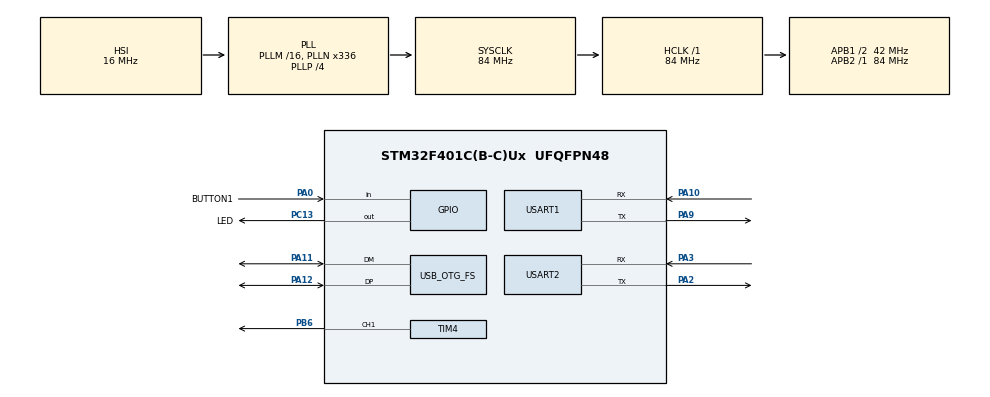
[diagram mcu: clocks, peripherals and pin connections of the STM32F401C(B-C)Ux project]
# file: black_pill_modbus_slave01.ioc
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FREERTOS.Tasks01=defaultTask,24,128,StartDefaultTask,Default,NULL,Dynamic,NULL,NULL;myTaskSlave,8,128,StartTaskSlave,Default,NULL,Dynamic,NULL,NULL
FREERTOS.configUSE_STATS_FORMATTING_FUNCTIONS=1
Mcu.Family=STM32F4
Mcu.Name=STM32F401C(B-C)Ux
Mcu.Package=UFQFPN48
NVIC.OTG_FS_IRQn=true\:5\:0\:false\:false\:true\:true\:true\:true\:true
NVIC.PriorityGroup=NVIC_PRIORITYGROUP_4
NVIC.TIM2_IRQn=true\:5\:0\:false\:false\:true\:true\:true\:true\:true
NVIC.USART1_IRQn=true\:5\:0\:false\:false\:true\:true\:true\:true\:true
NVIC.USART2_IRQn=true\:5\:0\:false\:false\:true\:true\:true\:true\:true
PA0-WKUP.GPIO_Label=BUTTON1
PA0-WKUP.Signal=GPIO_Input
PA10.Mode=Asynchronous
PA10.Signal=USART1_RX
PA11.Mode=Device_Only
PA11.Signal=USB_OTG_FS_DM
PA12.Mode=Device_Only
PA12.Signal=USB_OTG_FS_DP
PA13.Mode=Trace_Asynchronous_SW
PA13.Signal=SYS_JTMS-SWDIO
PA14.Mode=Trace_Asynchronous_SW
PA14.Signal=SYS_JTCK-SWCLK
PA2.Mode=Asynchronous
PA2.Signal=USART2_TX
PA3.Mode=Asynchronous
PA3.Signal=USART2_RX
PA9.Mode=Asynchronous
PA9.Signal=USART1_TX
PB3.Mode=Trace_Asynchronous_SW
PB3.Signal=SYS_JTDO-SWO
PB6.Signal=S_TIM4_CH1
PC13-ANTI_TAMP.GPIO_Label=LED
PC13-ANTI_TAMP.Signal=GPIO_Output
PC14-OSC32_IN.Mode=LSE-External-Oscillator
PC14-OSC32_IN.Signal=RCC_OSC32_IN
PC15-OSC32_OUT.Mode=LSE-External-Oscillator
PC15-OSC32_OUT.Signal=RCC_OSC32_OUT
PH0\ -\ OSC_IN.Mode=HSE-External-Oscillator
PH0\ -\ OSC_IN.Signal=RCC_OSC_IN
PH1\ -\ OSC_OUT.Mode=HSE-External-Oscillator
PH1\ -\ OSC_OUT.Signal=RCC_OSC_OUT
ProjectManager.HeapSize=0x200
ProjectManager.StackSize=0x400
ProjectManager.TargetToolchain=STM32CubeIDE
RCC.48MHZClocksFreq_Value=48000000
RCC.AHBFreq_Value=84000000
RCC.APB1CLKDivider=RCC_HCLK_DIV2
RCC.APB1Freq_Value=42000000
RCC.APB1TimFreq_Value=84000000
RCC.APB2Freq_Value=84000000
RCC.APB2TimFreq_Value=84000000
RCC.CortexFreq_Value=84000000
RCC.HCLKFreq_Value=84000000
RCC.HSE_VALUE=25000000
RCC.HSI_VALUE=16000000
RCC.PLLN=336
RCC.PLLP=RCC_PLLP_DIV4
RCC.PLLQ=7
RCC.PLLSource=RCC_PLLSOURCE_HSI
RCC.PLLSourceVirtualString=RCC_PLLSOURCE_HSI
RCC.SYSCLKFreq_VALUE=84000000
RCC.SYSCLKSource=RCC_SYSCLKSOURCE_PLLCLK
RCC.VCOOutputFreq_Value=336000000
SH.S_TIM4_CH1.0=TIM4_CH1,PWM Generation1 CH1
TIM2.AutoReloadPreload=TIM_AUTORELOAD_PRELOAD_ENABLE
TIM2.Prescaler=83
TIM4.Channel-PWM\ Generation1\ CH1=TIM_CHANNEL_1
TIM4.CounterMode=TIM_COUNTERMODE_DOWN
TIM4.Period=8192-1
TIM4.Prescaler=0
USART1.VirtualMode=VM_ASYNC
USART2.VirtualMode=VM_ASYNC
USB_DEVICE.CLASS_NAME_FS=CDC
USB_DEVICE.VirtualMode=Cdc
USB_DEVICE.VirtualModeFS=Cdc_FS
USB_OTG_FS.VirtualMode=Device_Only
VP_FREERTOS_VS_CMSIS_V2.Mode=CMSIS_V2
VP_TIM2_VS_ClockSourceINT.Mode=Internal
VP_TIM4_VS_ClockSourceINT.Mode=Internal
VP_USB_DEVICE_VS_USB_DEVICE_CDC_FS.Mode=CDC_FS
board=custom

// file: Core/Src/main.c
/* USER CODE BEGIN Header */
/**
  ******************************************************************************
  * @file           : main.c
  * @brief          : Main program body
  ******************************************************************************
  * @attention
  *
  * Copyright (c) 2023 STMicroelectronics.
  * All rights reserved.
  *
  * This software is licensed under terms that can be found in the LICENSE file
  * in the root directory of this software component.
  * If no LICENSE file comes with this software, it is provided AS-IS.
  *
  ******************************************************************************
  */
/* USER CODE END Header */
#include "main.h"
#include "cmsis_os.h"
#include "tim.h"
#include "usart.h"
#include "usb_device.h"
#include "gpio.h"

/* USER CODE BEGIN Includes */
#include "analogclock.h"
#include "typedef.h"
#include "eeprom.h"
#include "save_variable.h"
/* USER CODE END Includes */

/* USER CODE BEGIN PV */

uint16_t VirtAddVarTab[NB_OF_VAR] = {0x5555, 0x6666, 0x7777};
uint16_t VarDataTab[NB_OF_VAR] = {0, 0, 0};
uint16_t VarValue = 0;
modbusHandler_t ModbusH;
uint16_t ModbusDATA[32];
ee_t ee;
flash_state_t flash_ready = FLASH_NOT_READY;

/* USER CODE END PV */

void SystemClock_Config(void);
void MX_FREERTOS_Init(void);
/* USER CODE BEGIN PFP */
#define PUTCHAR_PROTOTYPE int __io_putchar(int ch)

/* USER CODE END PFP */

int main(void)
{

  /* MCU Configuration--------------------------------------------------------*/

  /* Reset of all peripherals, Initializes the Flash interface and the Systick. */
  HAL_Init();

  /* Configure the system clock */
  SystemClock_Config();

  /* Initialize all configured peripherals */
  MX_GPIO_Init();
  MX_USART1_UART_Init();
  MX_USART2_UART_Init();
  MX_TIM2_Init();
  MX_TIM4_Init();
  /* USER CODE BEGIN 2 */
  init_save();
  load_eeprom();
  init_modbus(&huart2, ee.address);

  /* USER CODE END 2 */

  /* Init scheduler */
  osKernelInitialize();  /* Call init function for freertos objects (in freertos.c) */
  MX_FREERTOS_Init();

  /* Start scheduler */
  osKernelStart();
  /* We should never get here as control is now taken by the scheduler */
  /* Infinite loop */
  while (1)
  {

  }
}

void SystemClock_Config(void)
{
  RCC_OscInitTypeDef RCC_OscInitStruct = {0};
  RCC_ClkInitTypeDef RCC_ClkInitStruct = {0};

  /** Configure the main internal regulator output voltage
  */
  __HAL_RCC_PWR_CLK_ENABLE();
  __HAL_PWR_VOLTAGESCALING_CONFIG(PWR_REGULATOR_VOLTAGE_SCALE2);

  /** Initializes the RCC Oscillators according to the specified parameters
  * in the RCC_OscInitTypeDef structure.
  */
  RCC_OscInitStruct.OscillatorType = RCC_OSCILLATORTYPE_HSI;
  RCC_OscInitStruct.HSIState = RCC_HSI_ON;
  RCC_OscInitStruct.HSICalibrationValue = RCC_HSICALIBRATION_DEFAULT;
  RCC_OscInitStruct.PLL.PLLState = RCC_PLL_ON;
  RCC_OscInitStruct.PLL.PLLSource = RCC_PLLSOURCE_HSI;
  RCC_OscInitStruct.PLL.PLLM = 16;
  RCC_OscInitStruct.PLL.PLLN = 336;
  RCC_OscInitStruct.PLL.PLLP = RCC_PLLP_DIV4;
  RCC_OscInitStruct.PLL.PLLQ = 7;
  if (HAL_RCC_OscConfig(&RCC_OscInitStruct) != HAL_OK)
  {
    Error_Handler();
  }

  /** Initializes the CPU, AHB and APB buses clocks
  */
  RCC_ClkInitStruct.ClockType = RCC_CLOCKTYPE_HCLK|RCC_CLOCKTYPE_SYSCLK
                              |RCC_CLOCKTYPE_PCLK1|RCC_CLOCKTYPE_PCLK2;
  RCC_ClkInitStruct.SYSCLKSource = RCC_SYSCLKSOURCE_PLLCLK;
  RCC_ClkInitStruct.AHBCLKDivider = RCC_SYSCLK_DIV1;
  RCC_ClkInitStruct.APB1CLKDivider = RCC_HCLK_DIV2;
  RCC_ClkInitStruct.APB2CLKDivider = RCC_HCLK_DIV1;

  if (HAL_RCC_ClockConfig(&RCC_ClkInitStruct, FLASH_LATENCY_2) != HAL_OK)
  {
    Error_Handler();
  }
}

/* USER CODE BEGIN 4 */
//PUTCHAR_PROTOTYPE
//{
  /* Place your implementation of fputc here */
  /* e.g. write a character to the USART1 and Loop until the end of transmission */
  //HAL_UART_Transmit (&huart2, (uint8_t*) &ch, 1, 0xFFFF);

  //while(!(CDC_Transmit_FS((uint8_t*)&ch, 1) == USBD_BUSY));

  //return ch;
//}

//int fputc(int ch, FILE *f)
//{
//    return(ITM_SendChar(ch));
//}

int _write(int file, char *ptr, int len)
{
  /* Implement your write code here, this is used by puts and printf for example */
  int i=0;
  for(i=0 ; i<len ; i++)
    ITM_SendChar((*ptr++));
  return len;
}

/* USER CODE END 4 */

void Error_Handler(void)
{
  __disable_irq();
  while (1)
  {
  }
}

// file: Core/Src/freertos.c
/* USER CODE BEGIN Header */
/**
 ******************************************************************************
 * File Name          : freertos.c
 * Description        : Code for freertos applications
 ******************************************************************************
 * @attention
 *
 * <h2><center>&copy; Copyright (c) 2021 STMicroelectronics.
 * All rights reserved.</center></h2>
 *
 * This software component is licensed by ST under Ultimate Liberty license
 * SLA0044, the "License"; You may not use this file except in compliance with
 * the License. You may obtain a copy of the License at:
 *                             www.st.com/SLA0044
 *
 ******************************************************************************
 */
/* USER CODE END Header */

#include "FreeRTOS.h"
#include "task.h"
#include "main.h"
#include "cmsis_os.h"

/* USER CODE BEGIN Includes */
#include "semphr.h"
#include <stdio.h>
#include "menu.h"
#include "Cmd.h"
#include "analogclock.h"
#include "version.h"
#include "save_variable.h"
/* USER CODE END Includes */

/* USER CODE BEGIN PM */

#define bitRead(value, bit) (((value) >> (bit)) & 0x01)
#define bitSet(value, bit) ((value) |= (1UL << (bit)))
#define bitClear(value, bit) ((value) &= ~(1UL << (bit)))
#define bitWrite(value, bit, bitvalue) ((bitvalue) ? bitSet(value, bit) : bitClear(value, bit))

#define lowByte(w) ((w) & 0xff)
#define highByte(w) ((w) >> 8)

/* USER CODE END PM */

/* USER CODE BEGIN Variables */
extern TIM_HandleTypeDef htim4;

extern analog_clock_t analog_clock;

extern ee_t ee;

/* USER CODE END Variables */
/* Definitions for defaultTask */
osThreadId_t defaultTaskHandle;
const osThreadAttr_t defaultTask_attributes =
  { .name = "defaultTask", .stack_size = 128 * 4, .priority =
      (osPriority_t) osPriorityNormal, };
/* Definitions for myTaskSlave */
osThreadId_t myTaskSlaveHandle;
const osThreadAttr_t myTaskSlave_attributes =
  { .name = "myTaskSlave", .stack_size = 128 * 4, .priority =
      (osPriority_t) osPriorityLow, };

void StartDefaultTask (void *argument);
void StartTaskSlave (void *argument);

extern void MX_USB_DEVICE_Init (void);
void MX_FREERTOS_Init (void); /* (MISRA C 2004 rule 8.1) */

void MX_FREERTOS_Init (void)
{

  /* Create the thread(s) */
  /* creation of defaultTask */
  defaultTaskHandle = osThreadNew (StartDefaultTask, NULL,
				   &defaultTask_attributes);

  /* creation of myTaskSlave */
  myTaskSlaveHandle = osThreadNew (StartTaskSlave, NULL,
				   &myTaskSlave_attributes);

}

void StartDefaultTask (void *argument)
{
  /* init code for USB_DEVICE */
  MX_USB_DEVICE_Init ();
  /* USER CODE BEGIN StartDefaultTask */
  /* Infinite loop */
  for (;;)
    {
      osDelay (1);
    }
  /* USER CODE END StartDefaultTask */
}

void StartTaskSlave (void *argument)
{
  /* USER CODE BEGIN StartTaskSlave */
  HAL_TIM_PWM_Start (&htim4, TIM_CHANNEL_1);

  ModbusH.u16regs[0] = template[ee.address].value; //TIM1->CCR1
  ModbusH.u16regs[1] = ee.cal_min;
  ModbusH.u16regs[2] = ee.cal_max;
  ModbusH.u16regs[3] = template[ee.address].in_min;
  ModbusH.u16regs[4] = template[ee.address].in_max;

  ModbusH.u16regs[6] = 0;
  ModbusH.u16regs[7] = 0;
  ModbusH.u16regs[8] = 0;
  ModbusH.u16regs[9] = 0;
  ModbusH.u16regs[10] = 255;
  ModbusH.u16regs[14] = 0;
  ModbusH.u16regs[15] = ee.address;
  /* Infinite loop */
  for (;;)
    {
      xSemaphoreTake(ModbusH.ModBusSphrHandle, 100);
      analog_clock.value = ModbusH.u16regs[0]; //TIM1->CCR1
      analog_clock.out_min = ModbusH.u16regs[1];
      analog_clock.out_max = ModbusH.u16regs[2];
      analog_clock.in_min = ModbusH.u16regs[3];
      analog_clock.in_max = ModbusH.u16regs[4];

      calulate ();

      ModbusH.u16regs[6] = analog_clock.pwm;

      analog_clock.pwm_r = ModbusH.u16regs[7];
      analog_clock.pwm_g = ModbusH.u16regs[8];
      analog_clock.pwm_b = ModbusH.u16regs[9];
      analog_clock.pwm_w = ModbusH.u16regs[10];

      if (bitRead(ModbusH.u16regs[14], 7))
	{
	  bitClear(ModbusH.u16regs[14], 7);
	  reset_mcu ();
	}
      if (bitRead(ModbusH.u16regs[14], 6))
	{
	  bitClear(ModbusH.u16regs[14], 6);
	  load_eeprom ();
	  ModbusH.u16regs[1] = ee.cal_min;
	  ModbusH.u16regs[2] = ee.cal_max;
	  ModbusH.u16regs[15] = ee.address;
	  //new_adr_modbus(ModbusH.u16regs[15]);
	}
      if (bitRead(ModbusH.u16regs[14], 5))
	{
	  bitClear(ModbusH.u16regs[14], 5);
	  ee.cal_min = ModbusH.u16regs[1];
	  ee.cal_max = ModbusH.u16regs[2];
	  ee.address = ModbusH.u16regs[15];
	  save_eeprom ();
	  reset_mcu ();
	}
      if (bitRead(ModbusH.u16regs[14], 4))
	{
	  bitClear(ModbusH.u16regs[14], 4);
	  default_eeprom ();
	  reset_mcu ();
	}
      ModbusH.u16regs[27] = BUILD_NR;
      ModbusH.u16regs[28] = DEVICE_TYPE;
      ModbusH.u16regs[29] = VERSION_MAJOR;
      ModbusH.u16regs[30] = VERSION_MINOR;
      ModbusH.u16regs[31] = VERSION_MICRO;

      TIM4->CCR1 = analog_clock.pwm;
      xSemaphoreGive(ModbusH.ModBusSphrHandle);
      osDelay (200);
    }
  /* USER CODE END StartTaskSlave */
}
